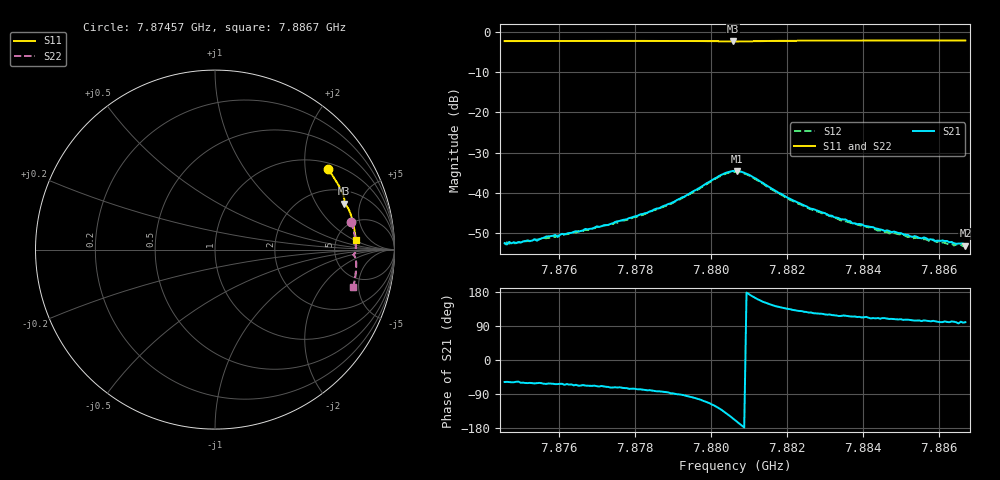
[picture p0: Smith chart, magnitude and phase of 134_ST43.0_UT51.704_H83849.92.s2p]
#  HZ  S  DB  R  50.00
! Rohde & Schwarz Vector Network Analyzer
! Rohde-Schwarz,ZNB20-2Port,1311601062101988,3.16
! Created: UTC 1/12/2023, 6:39:14 PM
! freq[Hz]  db:S11  ang:S11  db:S21  ang:S21  db:S12  ang:S12  db:S22  ang:S22
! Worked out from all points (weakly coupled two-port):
!   201 points, 7.87457 GHz to 7.8867 GHz, reference 50 ohm
!   highest |S21| = -34.56 dB at 7.8807 GHz (marker M1); lowest = -53.2 dB at 7.8867 GHz (marker M2)
!   lowest |S11| = -2.3 dB at 7.88058 GHz (marker M3), VSWR 7.46, Z = 144 + j177 ohm
!   |S11| at or under -10 dB: nowhere
!   |S22| runs from -2.3 to -2.0 dB; largest |S21 - S12| = 0.0012
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7.874572e9  -2.25 35.6  -52.56 -58.1  -52.95 -59.6  -2.20 11.5
7.874633e9  -2.25 35.4  -52.89 -57.6  -52.36 -60.2  -2.21 11.4
7.874694e9  -2.24 35.3  -52.26 -58.3  -52.66 -61.6  -2.19 11.2
7.875421e9  -2.23 33.2  -51.97 -61.1  -51.68 -64.6  -2.18 9.5
7.875664e9  -2.22 32.6  -50.93 -63.1  -51.34 -66.2  -2.17 8.9
7.875907e9  -2.22 31.9  -50.52 -63.7  -51.01 -66.9  -2.16 8.3
7.875967e9  -2.22 31.8  -51.02 -63.5  -50.66 -66.8  -2.16 8.2
7.876089e9  -2.22 31.4  -50.24 -62.8  -50.61 -67.7  -2.16 7.9
7.876634e9  -2.21 29.9  -49.38 -66.0  -49.52 -71.8  -2.14 6.6
7.877423e9  -2.20 27.8  -47.62 -72.6  -47.82 -74.6  -2.12 4.8
7.878636e9  -2.19 24.4  -43.90 -82.6  -43.94 -86.5  -2.11 1.9
7.879364e9  -2.21 22.3  -40.63 -94.9  -40.78 -98.2  -2.11 0.1
7.880213e9  -2.30 20.1  -35.87 -127.3  -36.02 -130.8  -2.21 -1.8
7.880577e9  -2.34 19.6  -34.60 -153.6  -34.83 -157.0  -2.25 -2.2
7.880638e9  -2.34 19.5  -34.59 -158.6  -34.79 -161.7  -2.26 -2.2
7.880698e9  -2.34 19.5  -34.56 -163.7  -34.79 -166.8  -2.25 -2.2
7.881062e9  -2.29 19.0  -35.83 169.9  -35.96 166.5  -2.20 -2.5
7.882033e9  -2.17 16.4  -41.31 134.8  -41.48 131.5  -2.07 -4.6
7.8827e9  -2.14 14.6  -44.08 123.5  -44.35 120.4  -2.03 -6.2
7.883731e9  -2.12 11.8  -47.64 114.5  -47.58 111.5  -2.00 -8.5
7.884701e9  -2.11 9.2  -49.60 108.3  -50.15 105.0  -1.98 -10.7
7.886703e9  -2.09 4.0  -53.16 99.7  -53.32 95.9  -1.96 -15.0
